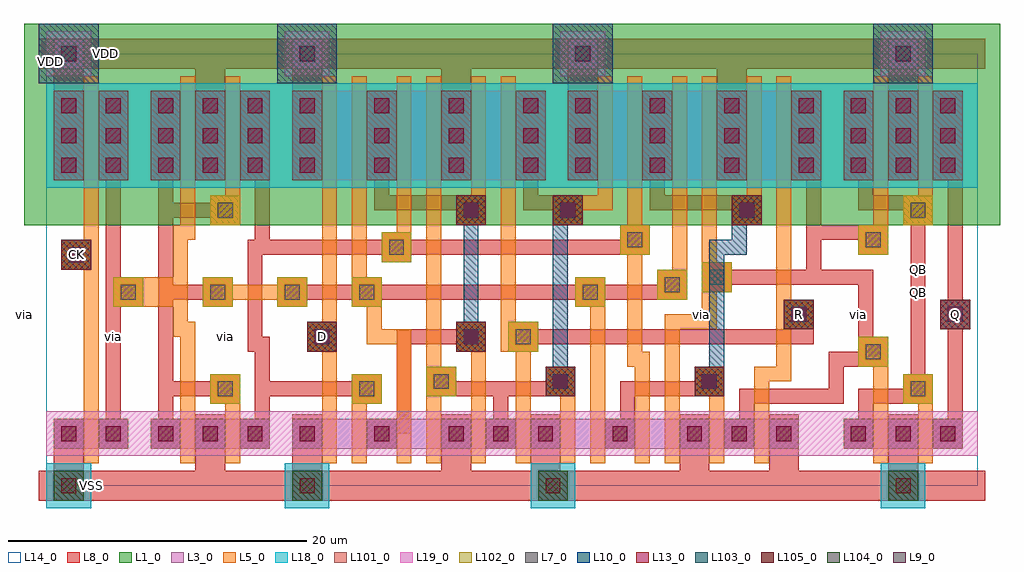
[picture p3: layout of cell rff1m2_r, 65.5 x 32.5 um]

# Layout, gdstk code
import gdstk
lib = gdstk.Library(unit=1e-6, precision=1e-09)
def R(c, l, rs):  # rectangles x0, y0, x1, y1
    for r in rs: c.add(gdstk.rectangle(r[:2], r[2:], *l))
L1_0 = (1, 0)
L3_0 = (3, 0)
L5_0 = (5, 0)
L7_0 = (7, 0)
L8_0 = (8, 0)
L9_0 = (9, 0)
L10_0 = (10, 0)
L13_0 = (13, 0)
L14_0 = (14, 0)
L18_0 = (18, 0)
L19_0 = (19, 0)
L101_0 = (101, 0)
L102_0 = (102, 0)
L103_0 = (103, 0)
L104_0 = (104, 0)
L105_0 = (105, 0)

via = lib.new_cell('Via')
R(via, L8_0, [(-1,-1,1,1)])
R(via, L9_0, [(-0.5,-0.5,0.5,0.5)])
R(via, L10_0, [(-1,-1,1,1)])
R(via, L13_0, [(-0.5,-0.5,0.5,0.5)])
R(via, L105_0, [(-1,-1,1,1)])
via.add(gdstk.Label('via', (0,0), layer=13, texttype=0))

pcont = lib.new_cell('pcont')
R(pcont, L5_0, [(-1,-1,1,1)])
R(pcont, L7_0, [(-0.5,-0.5,0.5,0.5)])
R(pcont, L8_0, [(-1,-1,1,1)])
R(pcont, L102_0, [(-1,-1,1,1)])
pcont.add(gdstk.Label('pcont', (0,0), layer=13, texttype=0))

dcont = lib.new_cell('dcont')
R(dcont, L3_0, [(-1,-1,1,1)])
R(dcont, L7_0, [(-0.5,-0.5,0.5,0.5)])
R(dcont, L8_0, [(-1,-1,1,1)])
R(dcont, L13_0, [(-0.5,-0.5,0.5,0.5)])
R(dcont, L101_0, [(-1,-1,1,1)])
dcont.add(gdstk.Label('dcont', (0,0), layer=13, texttype=0))

nsubcont = lib.new_cell('nsubcont')
R(nsubcont, L1_0, [(-2,-2,2,2)])
R(nsubcont, L19_0, [(-1.5,-1.5,1.5,1.5)])
R(nsubcont, L103_0, [(-2,-2,2,2)])
nsubcont.add(gdstk.Reference(dcont, (0,0)))
nsubcont.add(gdstk.Label('NScont', (0,0), layer=13, texttype=0))

psubcont = lib.new_cell('psubcont')
R(psubcont, L18_0, [(-1.5,-1.5,1.5,1.5)])
R(psubcont, L104_0, [(-1,-1,1,1)])
psubcont.add(gdstk.Reference(dcont, (0,0)))
psubcont.add(gdstk.Label('PScon', (0,0), layer=13, texttype=0))

rff1m2_r = lib.new_cell('rff1m2_r')
R(rff1m2_r, L1_0, [(-1.5,17.5,8,31), (5,17.5,64,31)])
R(rff1m2_r, L3_0, [(0.5,2.5,5.5,4.5), (7,2.5,15,4.5), (16.5,2.5,50.4,4.5), (53.5,2.5,61.5,4.5), (0.5,20.5,5.5,26.5), (7,20.5,15,26.5), (16.5,20.5,33.5,26.5), (35,20.5,52,26.5), (53.5,20.5,61.5,26.5)])
R(rff1m2_r, L5_0, [(6.5,12,8.5,14)])
R(rff1m2_r, L8_0, [(-0.5,-1,7,1), (6,-1,63,1), (59.5,2.5,61.5,4.5), (17.5,9,19.5,11), (49.5,10.5,51.5,12.5), (60,10.5,62,12.5), (1,14.5,3,16.5), (-0.5,28,7,30), (6,28,63,30)])
R(rff1m2_r, L10_0, [(17.5,9,19.5,11), (49.5,10.5,51.5,12.5), (60,10.5,62,12.5), (1,14.5,3,16.5)])
R(rff1m2_r, L14_0, [(0,0,62.5,29)])
R(rff1m2_r, L18_0, [(0,20,6.5,27), (6.5,20,62.5,27)])
R(rff1m2_r, L19_0, [(0,2,6.5,5), (6.5,2,62.5,5)])
R(rff1m2_r, L105_0, [(17.5,9,19.5,11), (49.5,10.5,51.5,12.5), (60,10.5,62,12.5), (1,14.5,3,16.5)])
rff1m2_r.add(gdstk.FlexPath([(1.5,21.5),(1.5,28.5)], 2, ends="extended", simple_path=True, layer=8, datatype=0))  # L8_0
rff1m2_r.add(gdstk.FlexPath([(1.5,1),(1.5,3.5)], 2, ends="extended", simple_path=True, layer=8, datatype=0))  # L8_0
rff1m2_r.add(gdstk.FlexPath([(4.5,22.3),(4.5,25.5)], 1.4, ends="extended", simple_path=True, layer=8, datatype=0))  # L8_0
rff1m2_r.add(gdstk.FlexPath([(4.5,20.5),(4.5,3.8)], 1, ends="extended", simple_path=True, layer=8, datatype=0))  # L8_0
rff1m2_r.add(gdstk.FlexPath([(61,3.3),(61,26)], 1, ends="extended", simple_path=True, layer=8, datatype=0))  # L8_0
rff1m2_r.add(gdstk.FlexPath([(60.5,22.3),(60.5,25.5)], 1.4, ends="extended", simple_path=True, layer=8, datatype=0))  # L8_0
rff1m2_r.add(gdstk.FlexPath([(57.5,22.6),(57.5,28.5)], 2, ends="extended", simple_path=True, layer=8, datatype=0))  # L8_0
rff1m2_r.add(gdstk.FlexPath([(57.5,1),(57.5,3.8)], 2, ends="extended", simple_path=True, layer=8, datatype=0))  # L8_0
rff1m2_r.add(gdstk.FlexPath([(55,26),(55,19),(58.5,19),(58.5,6),(55,6),(55,3.6)], 1, ends="extended", simple_path=True, layer=8, datatype=0))  # L8_0
rff1m2_r.add(gdstk.FlexPath([(54.5,22.3),(54.5,25.5)], 1.4, ends="extended", simple_path=True, layer=8, datatype=0))  # L8_0
rff1m2_r.add(gdstk.FlexPath([(55.8,17),(51.5,17)], 1, ends="extended", simple_path=True, layer=8, datatype=0))  # L8_0
rff1m2_r.add(gdstk.FlexPath([(47,3.8),(47,6),(53,6),(53,8.5),(55,8.5),(55,14),(51.5,14),(51.5,21.5)], 1, ends="extended", simple_path=True, layer=8, datatype=0))  # L8_0
rff1m2_r.add(gdstk.FlexPath([(51,22.3),(51,25.5)], 1.4, ends="extended", simple_path=True, layer=8, datatype=0))  # L8_0
rff1m2_r.add(gdstk.FlexPath([(49.5,1),(49.5,3.8)], 2, ends="extended", simple_path=True, layer=8, datatype=0))  # L8_0
rff1m2_r.add(gdstk.FlexPath([(45,14),(51.4,14)], 1, ends="extended", simple_path=True, layer=8, datatype=0))  # L8_0
rff1m2_r.add(gdstk.FlexPath([(46,22.6),(46,28.5)], 2, ends="extended", simple_path=True, layer=8, datatype=0))  # L8_0
rff1m2_r.add(gdstk.FlexPath([(41,22.6),(41,19),(47.5,19)], 1, ends="extended", simple_path=True, layer=8, datatype=0))  # L8_0
rff1m2_r.add(gdstk.FlexPath([(43.5,1),(43.5,3.8)], 2, ends="extended", simple_path=True, layer=8, datatype=0))  # L8_0
rff1m2_r.add(gdstk.FlexPath([(39,3.8),(39,6.5),(44.3,6.5)], 1, ends="extended", simple_path=True, layer=8, datatype=0))  # L8_0
rff1m2_r.add(gdstk.FlexPath([(41,22.3),(41,25.5)], 1.4, ends="extended", simple_path=True, layer=8, datatype=0))  # L8_0
rff1m2_r.add(gdstk.FlexPath([(31.9,10),(51,10)], 1, ends="extended", simple_path=True, layer=8, datatype=0))  # L8_0
rff1m2_r.add(gdstk.FlexPath([(36,22.6),(36,28.5)], 2, ends="extended", simple_path=True, layer=8, datatype=0))  # L8_0
rff1m2_r.add(gdstk.FlexPath([(32.5,22.6),(32.5,19),(34.8,19)], 1, ends="extended", simple_path=True, layer=8, datatype=0))  # L8_0
rff1m2_r.add(gdstk.FlexPath([(33.5,1),(33.5,3.8)], 2, ends="extended", simple_path=True, layer=8, datatype=0))  # L8_0
rff1m2_r.add(gdstk.FlexPath([(32.5,22.3),(32.5,25.5)], 1.4, ends="extended", simple_path=True, layer=8, datatype=0))  # L8_0
rff1m2_r.add(gdstk.FlexPath([(30.5,3.8),(30.5,6.5)], 1, ends="extended", simple_path=True, layer=8, datatype=0))  # L8_0
rff1m2_r.add(gdstk.FlexPath([(34.8,6.5),(26.4,6.5)], 1, ends="extended", simple_path=True, layer=8, datatype=0))  # L8_0
rff1m2_r.add(gdstk.FlexPath([(42.3,13),(16.8,13)], 1, ends="extended", simple_path=True, layer=8, datatype=0))  # L8_0
rff1m2_r.add(gdstk.FlexPath([(27.5,1),(27.5,3.8)], 2, ends="extended", simple_path=True, layer=8, datatype=0))  # L8_0
rff1m2_r.add(gdstk.FlexPath([(27.5,22.6),(27.5,28.5)], 2, ends="extended", simple_path=True, layer=8, datatype=0))  # L8_0
rff1m2_r.add(gdstk.FlexPath([(14,16),(39.8,16)], 1, ends="extended", simple_path=True, layer=8, datatype=0))  # L8_0
rff1m2_r.add(gdstk.FlexPath([(22.8,3.8),(22.8,4),(24,4),(24,10),(28.9,10)], 1, ends="extended", simple_path=True, layer=8, datatype=0))  # L8_0
rff1m2_r.add(gdstk.FlexPath([(22.5,22.6),(22.5,19),(28.8,19)], 1, ends="extended", simple_path=True, layer=8, datatype=0))  # L8_0
rff1m2_r.add(gdstk.FlexPath([(22.5,22.3),(22.5,25.5)], 1.4, ends="extended", simple_path=True, layer=8, datatype=0))  # L8_0
rff1m2_r.add(gdstk.FlexPath([(21.3,6.5),(14.8,6.5)], 1, ends="extended", simple_path=True, layer=8, datatype=0))  # L8_0
rff1m2_r.add(gdstk.FlexPath([(17.5,22.6),(17.5,28.5)], 2, ends="extended", simple_path=True, layer=8, datatype=0))  # L8_0
rff1m2_r.add(gdstk.FlexPath([(17.5,1),(17.5,3.8)], 2, ends="extended", simple_path=True, layer=8, datatype=0))  # L8_0
rff1m2_r.add(gdstk.FlexPath([(14.5,3.6),(14.5,9.5),(14,9.5),(14,16),(14.5,16),(14.5,26)], 1, ends="extended", simple_path=True, layer=8, datatype=0))  # L8_0
rff1m2_r.add(gdstk.FlexPath([(11,1),(11,3.8)], 2, ends="extended", simple_path=True, layer=8, datatype=0))  # L8_0
rff1m2_r.add(gdstk.FlexPath([(11,22.6),(11,28.5)], 2, ends="extended", simple_path=True, layer=8, datatype=0))  # L8_0
rff1m2_r.add(gdstk.FlexPath([(12.4,6.5),(8,6.5)], 1, ends="extended", simple_path=True, layer=8, datatype=0))  # L8_0
rff1m2_r.add(gdstk.FlexPath([(12.1,18.5),(8,18.5)], 1, ends="extended", simple_path=True, layer=8, datatype=0))  # L8_0
rff1m2_r.add(gdstk.FlexPath([(11.9,13),(8,13)], 1, ends="extended", simple_path=True, layer=8, datatype=0))  # L8_0
rff1m2_r.add(gdstk.FlexPath([(8,22.3),(8,25.5)], 1.4, ends="extended", simple_path=True, layer=8, datatype=0))  # L8_0
rff1m2_r.add(gdstk.FlexPath([(8,26),(8,3.6)], 1, ends="extended", simple_path=True, layer=8, datatype=0))  # L8_0
rff1m2_r.add(gdstk.FlexPath([(3,27),(3,2)], 1, ends="extended", simple_path=True, layer=5, datatype=0))  # L5_0
rff1m2_r.add(gdstk.FlexPath([(9.5,27),(9.5,17),(9,17),(9,10.5),(9.5,10.5),(9.5,2)], 1, ends="extended", simple_path=True, layer=5, datatype=0))  # L5_0
rff1m2_r.add(gdstk.FlexPath([(59,18.1),(59,27)], 1, ends="extended", simple_path=True, layer=5, datatype=0))  # L5_0
rff1m2_r.add(gdstk.FlexPath([(59,2),(59,6.7)], 1, ends="extended", simple_path=True, layer=5, datatype=0))  # L5_0
rff1m2_r.add(gdstk.FlexPath([(56,16.7),(56,27)], 1, ends="extended", simple_path=True, layer=5, datatype=0))  # L5_0
rff1m2_r.add(gdstk.FlexPath([(56,2),(56,8.9)], 1, ends="extended", simple_path=True, layer=5, datatype=0))  # L5_0
rff1m2_r.add(gdstk.FlexPath([(48,2),(48,7.5),(49.5,7.5),(49.5,27)], 1, ends="extended", simple_path=True, layer=5, datatype=0))  # L5_0
rff1m2_r.add(gdstk.FlexPath([(47.5,27),(47.5,18.7)], 1, ends="extended", simple_path=True, layer=5, datatype=0))  # L5_0
rff1m2_r.add(gdstk.FlexPath([(45,6.8),(45,2)], 1, ends="extended", simple_path=True, layer=5, datatype=0))  # L5_0
rff1m2_r.add(gdstk.FlexPath([(42,2),(42,11),(44.5,11),(44.5,27)], 1, ends="extended", simple_path=True, layer=5, datatype=0))  # L5_0
rff1m2_r.add(gdstk.FlexPath([(42.5,27),(42.5,13.7)], 1, ends="extended", simple_path=True, layer=5, datatype=0))  # L5_0
rff1m2_r.add(gdstk.FlexPath([(40,2),(40,8.5),(39.5,8.5),(39.5,27)], 1, ends="extended", simple_path=True, layer=5, datatype=0))  # L5_0
rff1m2_r.add(gdstk.FlexPath([(37,2),(37,12.8)], 1, ends="extended", simple_path=True, layer=5, datatype=0))  # L5_0
rff1m2_r.add(gdstk.FlexPath([(34.8,19),(37.5,19),(37.5,27)], 1, ends="extended", simple_path=True, layer=5, datatype=0))  # L5_0
rff1m2_r.add(gdstk.FlexPath([(35,2),(35,7.3),(34.3,7.3)], 1, ends="extended", simple_path=True, layer=5, datatype=0))  # L5_0
rff1m2_r.add(gdstk.FlexPath([(32,2),(32,10)], 1, ends="extended", simple_path=True, layer=5, datatype=0))  # L5_0
rff1m2_r.add(gdstk.FlexPath([(31,9.5),(31,27)], 1, ends="extended", simple_path=True, layer=5, datatype=0))  # L5_0
rff1m2_r.add(gdstk.FlexPath([(29,18.7),(29,27)], 1, ends="extended", simple_path=True, layer=5, datatype=0))  # L5_0
rff1m2_r.add(gdstk.FlexPath([(29,2),(29,10)], 1, ends="extended", simple_path=True, layer=5, datatype=0))  # L5_0
rff1m2_r.add(gdstk.FlexPath([(26,27),(26,2)], 1, ends="extended", simple_path=True, layer=5, datatype=0))  # L5_0
rff1m2_r.add(gdstk.FlexPath([(24,15.8),(24,27)], 1, ends="extended", simple_path=True, layer=5, datatype=0))  # L5_0
rff1m2_r.add(gdstk.FlexPath([(24,2),(24,10),(22,10),(22,13),(21,13),(21,27)], 1, ends="extended", simple_path=True, layer=5, datatype=0))  # L5_0
rff1m2_r.add(gdstk.FlexPath([(21,2),(21,6.8)], 1, ends="extended", simple_path=True, layer=5, datatype=0))  # L5_0
rff1m2_r.add(gdstk.FlexPath([(19,27),(19,2)], 1, ends="extended", simple_path=True, layer=5, datatype=0))  # L5_0
rff1m2_r.add(gdstk.FlexPath([(16.5,13),(11.6,13)], 1, ends="extended", simple_path=True, layer=5, datatype=0))  # L5_0
rff1m2_r.add(gdstk.FlexPath([(12.5,18.3),(12.5,27)], 1, ends="extended", simple_path=True, layer=5, datatype=0))  # L5_0
rff1m2_r.add(gdstk.FlexPath([(12.5,2),(12.5,7)], 1, ends="extended", simple_path=True, layer=5, datatype=0))  # L5_0
rff1m2_r.add(gdstk.FlexPath([(46.5,18.6),(46.5,16),(45,16),(45,6.8)], 1, ends="extended", simple_path=True, layer=10, datatype=0))  # L10_0
rff1m2_r.add(gdstk.FlexPath([(34.5,18.6),(34.5,6.8)], 1, ends="extended", simple_path=True, layer=10, datatype=0))  # L10_0
rff1m2_r.add(gdstk.FlexPath([(28.5,10),(28.5,18.7)], 1, ends="extended", simple_path=True, layer=10, datatype=0))  # L10_0
rff1m2_r.add(gdstk.Reference(via, (2,15.5)))
rff1m2_r.add(gdstk.Reference(pcont, (2,15.5)))
rff1m2_r.add(gdstk.Reference(dcont, (30.5,3.5)))
rff1m2_r.add(gdstk.Reference(pcont, (45,14)))
rff1m2_r.add(gdstk.Reference(dcont, (54.5,23.5)))
rff1m2_r.add(gdstk.Reference(nsubcont, (36,29)))
rff1m2_r.add(gdstk.Reference(dcont, (36,23.5)))
rff1m2_r.add(gdstk.Reference(via, (47,18.5)))
rff1m2_r.add(gdstk.Reference(dcont, (46,23.5)))
rff1m2_r.add(gdstk.Reference(pcont, (39.5,16.5)))
rff1m2_r.add(gdstk.Reference(dcont, (41,21.5)))
rff1m2_r.add(gdstk.Reference(nsubcont, (57.5,29)))
rff1m2_r.add(gdstk.Reference(dcont, (32.5,21.5)))
rff1m2_r.add(gdstk.Reference(dcont, (51,25.5)))
rff1m2_r.add(gdstk.Reference(dcont, (60.5,25.5)))
rff1m2_r.add(gdstk.Reference(dcont, (57.5,23.5)))
rff1m2_r.add(gdstk.Reference(dcont, (60.5,23.5)))
rff1m2_r.add(gdstk.Reference(pcont, (58.5,18.5)))
rff1m2_r.add(gdstk.Reference(dcont, (54.5,21.5)))
rff1m2_r.add(gdstk.Reference(dcont, (51,23.5)))
rff1m2_r.add(gdstk.Reference(pcont, (35,18.5)))
rff1m2_r.add(gdstk.Reference(dcont, (51,21.5)))
rff1m2_r.add(gdstk.Reference(dcont, (41,25.5)))
rff1m2_r.add(gdstk.Reference(dcont, (57.5,25.5)))
rff1m2_r.add(gdstk.Reference(dcont, (41,23.5)))
rff1m2_r.add(gdstk.Reference(dcont, (54.5,25.5)))
rff1m2_r.add(gdstk.Reference(dcont, (36,25.5)))
rff1m2_r.add(gdstk.Reference(dcont, (46,21.5)))
rff1m2_r.add(gdstk.Reference(dcont, (60.5,21.5)))
rff1m2_r.add(gdstk.Reference(pcont, (55.5,16.5)))
rff1m2_r.add(gdstk.Reference(dcont, (57.5,21.5)))
rff1m2_r.add(gdstk.Reference(via, (35,18.5)))
rff1m2_r.add(gdstk.Reference(dcont, (32.5,23.5)))
rff1m2_r.add(gdstk.Reference(dcont, (36,21.5)))
rff1m2_r.add(gdstk.Reference(dcont, (46,25.5)))
rff1m2_r.add(gdstk.Reference(dcont, (32.5,25.5)))
rff1m2_r.add(gdstk.Reference(pcont, (47,18.5)))
rff1m2_r.add(gdstk.Reference(dcont, (17.5,21.5)))
rff1m2_r.add(gdstk.Reference(pcont, (12,18.5)))
rff1m2_r.add(gdstk.Reference(dcont, (27.5,23.5)))
rff1m2_r.add(gdstk.Reference(dcont, (22.5,25.5)))
rff1m2_r.add(gdstk.Reference(dcont, (11,25.5)))
rff1m2_r.add(gdstk.Reference(dcont, (8,25.5)))
rff1m2_r.add(gdstk.Reference(pcont, (23.5,16)))
rff1m2_r.add(gdstk.Reference(dcont, (4.5,23.5)))
rff1m2_r.add(gdstk.Reference(pcont, (28.5,18.5)))
rff1m2_r.add(gdstk.Reference(via, (28.5,18.5)))
rff1m2_r.add(gdstk.Reference(dcont, (11,23.5)))
rff1m2_r.add(gdstk.Reference(dcont, (27.5,21.5)))
rff1m2_r.add(gdstk.Reference(dcont, (17.5,23.5)))
rff1m2_r.add(gdstk.Reference(dcont, (14,23.5)))
rff1m2_r.add(gdstk.Reference(dcont, (17.5,25.5)))
rff1m2_r.add(gdstk.Reference(dcont, (14,21.5)))
rff1m2_r.add(gdstk.Reference(dcont, (22.5,23.5)))
rff1m2_r.add(gdstk.Reference(dcont, (1.5,21.5)))
rff1m2_r.add(gdstk.Reference(dcont, (1.5,25.5)))
rff1m2_r.add(gdstk.Reference(dcont, (8,21.5)))
rff1m2_r.add(gdstk.Reference(dcont, (22.5,21.5)))
rff1m2_r.add(gdstk.Reference(dcont, (14,25.5)))
rff1m2_r.add(gdstk.Reference(dcont, (8,23.5)))
rff1m2_r.add(gdstk.Reference(dcont, (27.5,25.5)))
rff1m2_r.add(gdstk.Reference(nsubcont, (17.5,29)))
rff1m2_r.add(gdstk.Reference(dcont, (11,21.5)))
rff1m2_r.add(gdstk.Reference(dcont, (4.5,21.5)))
rff1m2_r.add(gdstk.Reference(nsubcont, (1.5,29)))
rff1m2_r.add(gdstk.Reference(dcont, (1.5,23.5)))
rff1m2_r.add(gdstk.Reference(dcont, (4.5,25.5)))
rff1m2_r.add(gdstk.Reference(pcont, (26.5,7)))
rff1m2_r.add(gdstk.Reference(dcont, (11,3.5)))
rff1m2_r.add(gdstk.Reference(dcont, (17.5,3.5)))
rff1m2_r.add(gdstk.Reference(pcont, (12,6.5)))
rff1m2_r.add(gdstk.Reference(dcont, (8,3.5)))
rff1m2_r.add(gdstk.Reference(pcont, (21.5,13)))
rff1m2_r.add(gdstk.Reference(psubcont, (1.5,0)))
rff1m2_r.add(gdstk.Reference(dcont, (14,3.5)))
rff1m2_r.add(gdstk.Reference(dcont, (22.5,3.5)))
rff1m2_r.add(gdstk.Reference(dcont, (27.5,3.5)))
rff1m2_r.add(gdstk.Reference(via, (28.5,10)))
rff1m2_r.add(gdstk.Reference(dcont, (1.5,3.5)))
rff1m2_r.add(gdstk.Reference(pcont, (16.5,13)))
rff1m2_r.add(gdstk.Reference(pcont, (21.5,6.5)))
rff1m2_r.add(gdstk.Reference(pcont, (28.5,10)))
rff1m2_r.add(gdstk.Reference(pcont, (11.5,13)))
rff1m2_r.add(gdstk.Reference(pcont, (18.5,10)))
rff1m2_r.add(gdstk.Reference(psubcont, (17.5,0)))
rff1m2_r.add(gdstk.Reference(dcont, (4.5,3.5)))
rff1m2_r.add(gdstk.Reference(pcont, (5.5,13)))
rff1m2_r.add(gdstk.Reference(via, (18.5,10)))
rff1m2_r.add(gdstk.Reference(pcont, (32,10)))
rff1m2_r.add(gdstk.Reference(via, (61,11.5)))
rff1m2_r.add(gdstk.Reference(pcont, (36.5,13)))
rff1m2_r.add(gdstk.Reference(dcont, (43.5,3.5)))
rff1m2_r.add(gdstk.Reference(pcont, (55.5,9)))
rff1m2_r.add(gdstk.Reference(dcont, (60.5,3.5)))
rff1m2_r.add(gdstk.Reference(pcont, (58.5,6.5)))
rff1m2_r.add(gdstk.Reference(via, (44.5,7)))
rff1m2_r.add(gdstk.Reference(psubcont, (57.5,0)))
rff1m2_r.add(gdstk.Reference(dcont, (57.5,3.5)))
rff1m2_r.add(gdstk.Reference(dcont, (49.5,3.5)))
rff1m2_r.add(gdstk.Reference(pcont, (44.5,7)))
rff1m2_r.add(gdstk.Reference(pcont, (50.5,11.5)))
rff1m2_r.add(gdstk.Reference(dcont, (33.5,3.5)))
rff1m2_r.add(gdstk.Reference(via, (50.5,11.5)))
rff1m2_r.add(gdstk.Reference(dcont, (46.5,3.5)))
rff1m2_r.add(gdstk.Reference(dcont, (38.5,3.5)))
rff1m2_r.add(gdstk.Reference(psubcont, (34,0)))
rff1m2_r.add(gdstk.Reference(pcont, (34.5,7)))
rff1m2_r.add(gdstk.Reference(dcont, (54.5,3.5)))
rff1m2_r.add(gdstk.Reference(via, (34.5,7)))
rff1m2_r.add(gdstk.Reference(pcont, (42,13.5)))
rff1m2_r.add(gdstk.Label('VDD', (4,29), layer=8, texttype=0))
rff1m2_r.add(gdstk.Label('VSS', (3,0), layer=8, texttype=0))
rff1m2_r.add(gdstk.Label('QB', (58.5,13), layer=8, texttype=0))
rff1m2_r.add(gdstk.Label('VDD', (0.3,28.5), layer=8, texttype=0))
rff1m2_r.add(gdstk.Label('QB', (58.5,14.5), layer=8, texttype=0))
rff1m2_r.add(gdstk.Label('via', (-4.5,15.5), layer=13, texttype=0))
rff1m2_r.add(gdstk.Label('via', (-1.5,11.5), layer=13, texttype=0))
rff1m2_r.add(gdstk.Label('via', (4.5,10), layer=13, texttype=0))
rff1m2_r.add(gdstk.Label('via', (12,10), layer=13, texttype=0))
rff1m2_r.add(gdstk.Label('via', (44,11.5), layer=13, texttype=0))
rff1m2_r.add(gdstk.Label('via', (54.5,11.5), layer=13, texttype=0))
rff1m2_r.add(gdstk.Label('CK', (2,15.5), layer=10, texttype=0))
rff1m2_r.add(gdstk.Label('D', (18.5,10), layer=10, texttype=0))
rff1m2_r.add(gdstk.Label('R', (50.5,11.5), layer=10, texttype=0))
rff1m2_r.add(gdstk.Label('Q', (61,11.5), layer=10, texttype=0))

lib.write_gds('rff1m2_r.gds')
